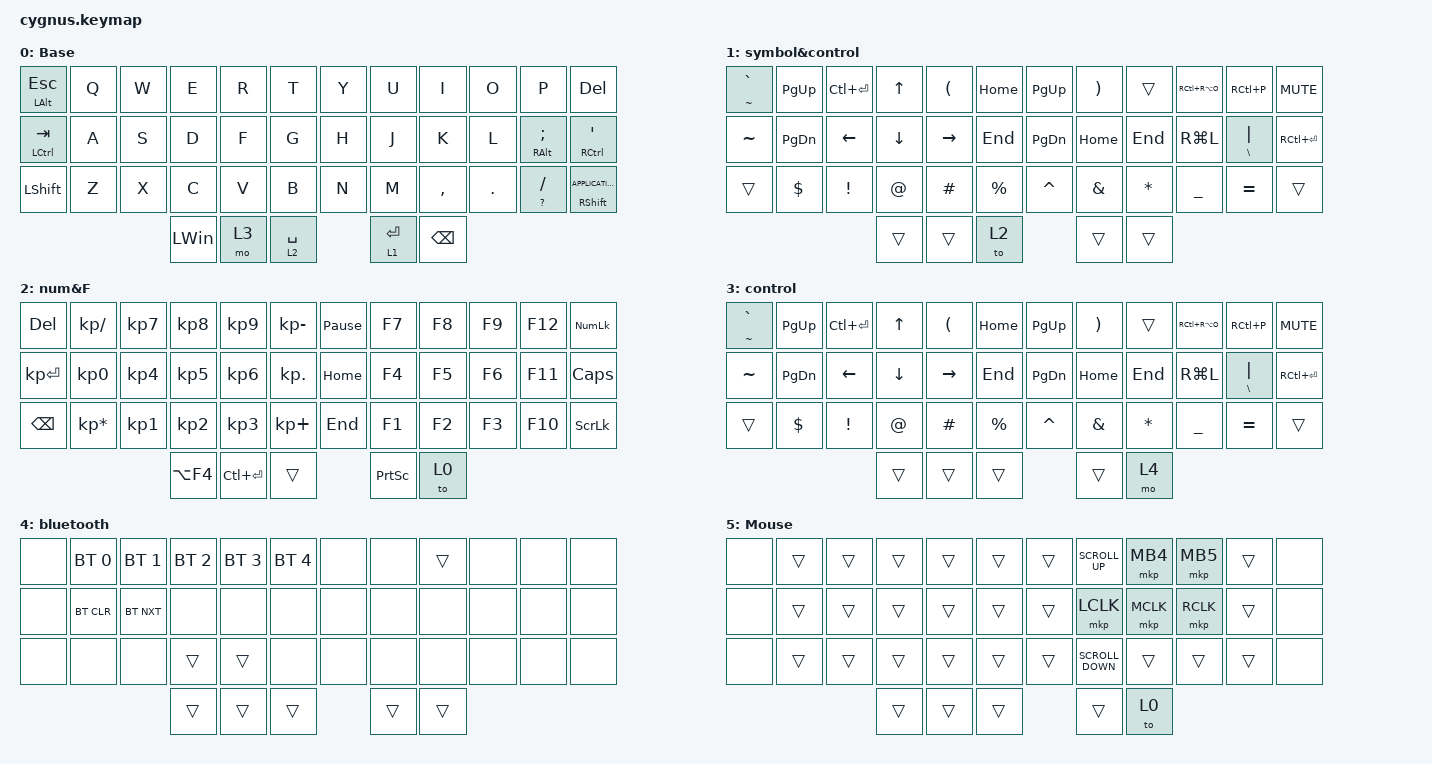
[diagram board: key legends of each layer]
#include <dt-bindings/zmk/mouse.h>
#include <behaviors.dtsi>
#include <dt-bindings/zmk/bt.h>
#include <dt-bindings/zmk/keys.h>
#include <dt-bindings/zmk/pointing.h>

&lt {
    tapping-term-ms = <240>;
    flavor = "balanced";
    quick-tap-ms = <150>;
};

&mt {
    global-quick-tap;
    flavor = "tap-preferred";
    tapping-term-ms = <200>;
};

&sk {
    release-after-ms = <2000>;
    quick-release;
};

/ {
    macros {
        dongle_bootload_macro: bootload_macro {
            compatible = "zmk,behavior-macro";
            #binding-cells = <0>;
            bindings = <&bootloader>;
            label = "BOOTLOAD_MACRO";
        };
    };

    combos {
        compatible = "zmk,combos";

        combo_esc {
            timeout-ms = <50>;
            key-positions = <0 1>;
            bindings = <&kp ESC>;
        };

        left_bkt {
            bindings = <&kp LEFT_BRACKET>;
            key-positions = <27 28>;
            timeout-ms = <50>;
        };

        right_bkt {
            bindings = <&kp RIGHT_BRACKET>;
            key-positions = <31 32>;
            timeout-ms = <50>;
        };

        left_par {
            bindings = <&kp LEFT_PARENTHESIS>;
            key-positions = <15 16>;
            timeout-ms = <50>;
        };

        right_par {
            bindings = <&kp RIGHT_PARENTHESIS>;
            key-positions = <19 20>;
            timeout-ms = <50>;
        };

        left_brace {
            bindings = <&kp LEFT_BRACE>;
            key-positions = <3 4>;
            timeout-ms = <50>;
        };

        right_brace {
            bindings = <&kp RIGHT_BRACE>;
            key-positions = <7 8>;
            timeout-ms = <50>;
        };

        bac {
            bindings = <&kp BACKSLASH>;
            key-positions = <3 16>;
            timeout-ms = <50>;
        };

        pipe {
            bindings = <&kp PIPE>;
            key-positions = <17 18>;
            timeout-ms = <50>;
        };

        slash {
            bindings = <&kp SLASH>;
            key-positions = <19 8>;
        };

        layer-mouse {
            bindings = <&to 5>;
            key-positions = <39 31 32>;
        };
    };

    behaviors {
        hm: homerow_mods {
            compatible = "zmk,behavior-hold-tap";
            label = "HOMEROW_MODS";
            bindings = <&kp>, <&kp>;

            #binding-cells = <2>;
            tapping-term-ms = <200>;
            quick-tap-ms = <180>;
            flavor = "tap-preferred";
        };

        ltq: ltq {
            compatible = "zmk,behavior-hold-tap";
            label = "LTQ";
            bindings = <&mo>, <&kp>;

            #binding-cells = <2>;
            tapping-term-ms = <200>;
            quick-tap-ms = <180>;
        };

        as: auto_shift {
            compatible = "zmk,behavior-hold-tap";
            label = "AUTO_SHIFT";
            bindings = <&kp>, <&kp>;

            #binding-cells = <2>;
            tapping-term-ms = <135>;
            quick-tap-ms = <0>;
        };
    };

    keymap {
        compatible = "zmk,keymap";

        Base {
            label = "Base";
            bindings = <
&mt LEFT_ALT ESC  &kp Q  &kp W  &kp E         &kp R  &kp T         &kp Y  &kp U         &kp I          &kp O    &kp P                    &kp DEL
&mt LCTRL TAB     &kp A  &kp S  &kp D         &kp F  &kp G         &kp H  &kp J         &kp K          &kp L    &mt RIGHT_ALT SEMICOLON  &mt RCTRL SQT
&kp LEFT_SHIFT    &kp Z  &kp X  &kp C         &kp V  &kp B         &kp N  &kp M         &kp COMMA      &kp DOT  &as QUESTION SLASH       &mt RIGHT_SHIFT K_APPLICATION
                                &kp LEFT_WIN  &mo 3  &ltq 2 SPACE         &ltq 1 ENTER  &kp BACKSPACE
            >;
        };

        Lower {
            label = "symbol&control";
            bindings = <
&as TILDE GRAVE  &kp PG_UP   &kp LC(ENTER)    &kp UP    &kp LPAR   &kp HOME     &kp PG_UP  &kp RPAR       &trans    &kp RC(RA(O))  &kp RC(P)           &kp K_MUTE
&kp TILDE        &kp PG_DN   &kp LEFT         &kp DOWN  &kp RIGHT  &kp END      &kp PG_DN  &kp HOME       &kp END   &kp RG(L)      &as BACKSLASH PIPE  &kp RC(ENTER)
&trans           &kp DOLLAR  &kp EXCLAMATION  &kp AT    &kp POUND  &kp PERCENT  &kp CARET  &kp AMPERSAND  &kp STAR  &kp UNDER      &kp EQUAL           &trans
                                              &trans    &trans     &to 2                   &trans         &trans
            >;
        };

        Raise {
            label = "num&F";
            bindings = <
&kp DELETE     &kp KP_DIVIDE    &kp KP_N7  &kp KP_N8   &kp KP_N9      &kp KP_MINUS  &kp PAUSE_BREAK  &kp F7           &kp F8  &kp F9  &kp F12  &kp KP_NUMLOCK
&kp KP_ENTER   &kp KP_N0        &kp KP_N4  &kp KP_N5   &kp KP_N6      &kp KP_DOT    &kp HOME         &kp F4           &kp F5  &kp F6  &kp F11  &kp CAPSLOCK
&kp BACKSPACE  &kp KP_MULTIPLY  &kp KP_N1  &kp KP_N2   &kp KP_N3      &kp KP_PLUS   &kp END          &kp F1           &kp F2  &kp F3  &kp F10  &kp SCROLLLOCK
                                           &kp LA(F4)  &kp LC(ENTER)  &trans                         &kp PRINTSCREEN  &to 0
            >;
        };

        control {
            label = "control";
            bindings = <
&as TILDE GRAVE  &kp PG_UP   &kp LC(ENTER)    &kp UP    &kp LPAR   &kp HOME     &kp PG_UP  &kp RPAR       &trans    &kp RC(RA(O))  &kp RC(P)           &kp K_MUTE
&kp TILDE        &kp PG_DN   &kp LEFT         &kp DOWN  &kp RIGHT  &kp END      &kp PG_DN  &kp HOME       &kp END   &kp RG(L)      &as BACKSLASH PIPE  &kp RC(ENTER)
&trans           &kp DOLLAR  &kp EXCLAMATION  &kp AT    &kp POUND  &kp PERCENT  &kp CARET  &kp AMPERSAND  &kp STAR  &kp UNDER      &kp EQUAL           &trans
                                              &trans    &trans     &trans                  &trans         &mo 4
            >;
        };

        BLE {
            label = "bluetooth";
            bindings = <
&none  &bt BT_SEL 0  &bt BT_SEL 1  &bt BT_SEL 2  &bt BT_SEL 3  &bt BT_SEL 4  &none  &none   &trans  &none  &none  &none
&none  &bt BT_CLR    &bt BT_NXT    &none         &none         &none         &none  &none   &none   &none  &none  &none
&none  &none         &none         &trans        &trans        &none         &none  &none   &none   &none  &none  &none
                                   &trans        &trans        &trans               &trans  &trans
            >;
        };

        Mouse {
            bindings = <
&none  &trans  &trans  &trans  &trans  &trans  &trans  &kp K_SCROLL_UP    &mkp MB4   &mkp MB5   &trans  &none
&none  &trans  &trans  &trans  &trans  &trans  &trans  &mkp LCLK          &mkp MCLK  &mkp RCLK  &trans  &none
&none  &trans  &trans  &trans  &trans  &trans  &trans  &kp K_SCROLL_DOWN  &trans     &trans     &trans  &none
                       &trans  &trans  &trans          &trans             &to 0
            >;
        };
    };

    conditional_layers {
        compatible = "zmk,conditional-layers";

        shortcut {
            if-layers = <1 3>;
            then-layer = <4>;
        };
    };
};
